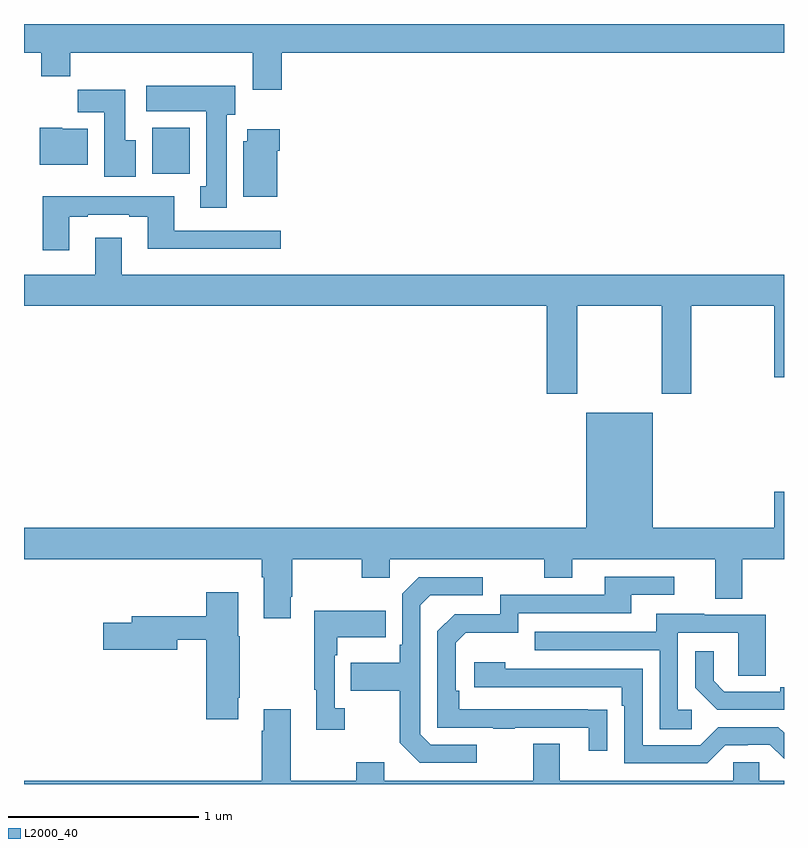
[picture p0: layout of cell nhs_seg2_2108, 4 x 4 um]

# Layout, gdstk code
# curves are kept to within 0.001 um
import gdstk
lib = gdstk.Library(unit=1e-6, precision=1e-09)
def R(c, l, rs):  # rectangles x0, y0, x1, y1
    for r in rs: c.add(gdstk.rectangle(r[:2], r[2:], *l))
def P(c, l, *ps):  # polygons
    for p in ps: c.add(gdstk.Polygon(p, *l))
L2000_40 = (2000, 40)

nhs_seg2_2108 = lib.new_cell('nhs_seg2_2108')
R(nhs_seg2_2108, L2000_40, [(221.675,635.012,221.872,635.254)])
P(nhs_seg2_2108, L2000_40, [(222.356,635.648),(225,635.648),(225,635.8),(221,635.8),(221,635.648),(221.092,635.648),(221.092,635.524),(221.243,635.524),(221.243,635.648),(222.203,635.648),(222.203,635.454),(222.356,635.454)],
  [(222.067,635.322),(222.112,635.322),(222.112,635.476),(221.643,635.476),(221.643,635.342),(221.96,635.342),(221.96,634.946),(221.927,634.946),(221.927,634.833),(222.067,634.833)],
  [(221.587,635.188),(221.533,635.188),(221.533,635.455),(221.284,635.455),(221.284,635.336),(221.423,635.336),(221.423,634.995),(221.587,634.995)],
  [(221.335,635.248),(221.202,635.248),(221.202,635.254),(221.084,635.254),(221.084,635.06),(221.335,635.06)],
  [(222.334,635.132),(222.347,635.132),(222.347,635.245),(222.176,635.245),(222.176,635.184),(222.155,635.184),(222.155,634.892),(222.334,634.892)],
  [(221.239,634.785),(221.335,634.785),(221.335,634.797),(221.555,634.797),(221.555,634.785),(221.651,634.785),(221.651,634.616),(222.352,634.616),(222.352,634.713),(221.791,634.713),(221.791,634.893),(221.327,634.893),(221.327,634.894),(221.099,634.894),(221.099,634.608),(221.239,634.608)],
  [(223.911,634.316),(224.356,634.316),(224.356,633.855),(224.511,633.855),(224.511,634.316),(224.948,634.316),(224.948,633.942),(225,633.942),(225,634.48),(221.515,634.48),(221.515,634.675),(221.375,634.675),(221.375,634.48),(221,634.48),(221,634.316),(223.751,634.316),(223.751,633.855),(223.911,633.855)],
  [(222.403,632.785),(222.411,632.785),(222.411,632.984),(222.778,632.984),(222.778,632.885),(222.924,632.885),(222.924,632.984),(223.738,632.984),(223.738,632.885),(223.885,632.885),(223.885,632.984),(224.639,632.984),(224.639,632.776),(224.779,632.776),(224.779,632.984),(225,632.984),(225,633.337),(224.948,633.337),(224.948,633.148),(224.308,633.148),(224.308,633.754),(223.958,633.754),(223.958,633.148),(221,633.148),(221,632.984),(222.251,632.984),(222.251,632.888),(222.263,632.888),(222.263,632.673),(222.403,632.673)],
  [(224.069,632.192),(223.292,632.193),(223.292,632.29),(223.272,632.29),(223.272,632.544),(223.325,632.597),(223.602,632.597),(223.602,632.7),(224.197,632.7),(224.197,632.796),(224.422,632.796),(224.422,632.892),(224.057,632.892),(224.057,632.796),(223.506,632.796),(223.506,632.694),(223.266,632.694),(223.176,632.604),(223.176,632.097),(223.471,632.097),(223.471,632.092),(223.583,632.092),(223.583,632.097),(223.973,632.097),(223.973,631.974),(224.069,631.974)],
  [(223.384,632.007),(223.14,632.007),(223.086,632.061),(223.086,632.742),(223.137,632.793),(223.414,632.793),(223.414,632.889),(223.077,632.889),(222.99,632.802),(222.99,632.533),(222.978,632.533),(222.978,632.437),(222.721,632.437),(222.721,632.29),(222.978,632.29),(222.978,632.017),(223.083,631.911),(223.384,631.911)],
  [(222.127,632.254),(222.135,632.254),(222.135,632.577),(222.127,632.577),(222.127,632.809),(221.96,632.809),(221.96,632.683),(221.567,632.683),(221.567,632.649),(221.418,632.649),(221.418,632.507),(221.806,632.507),(221.806,632.558),(221.96,632.558),(221.96,632.142),(222.127,632.142)],
  [(222.688,632.198),(222.636,632.198),(222.636,632.477),(222.649,632.477),(222.649,632.573),(222.905,632.573),(222.905,632.713),(222.528,632.713),(222.528,632.297),(222.539,632.297),(222.539,632.085),(222.688,632.085)],
  [(224.515,632.19),(224.442,632.19),(224.442,632.595),(224.76,632.595),(224.76,632.371),(224.905,632.371),(224.905,632.691),(224.581,632.691),(224.581,632.695),(224.327,632.695),(224.327,632.601),(223.687,632.601),(223.687,632.505),(224.346,632.505),(224.346,632.089),(224.515,632.089)],
  [(225,632.309),(224.981,632.309),(224.981,632.286),(224.686,632.286),(224.629,632.343),(224.629,632.5),(224.532,632.5),(224.532,632.306),(224.648,632.19),(225,632.19)],
  [(224.691,632.004),(224.81,632.004),(224.81,632.007),(224.925,632.007),(225,631.932),(225,632.07),(224.97,632.1),(224.655,632.1),(224.559,632.004),(224.256,632.004),(224.256,632.406),(223.532,632.406),(223.532,632.44),(223.371,632.44),(223.371,632.31),(224.147,632.31),(224.147,632.213),(224.16,632.213),(224.16,631.908),(224.595,631.908)],
  [(222.748,631.915),(222.748,631.816),(222.403,631.816),(222.403,632.194),(222.263,632.194),(222.263,632.081),(222.251,632.081),(222.251,631.816),(221,631.816),(221,631.8),(225,631.8),(225,631.816),(224.871,631.816),(224.871,631.914),(224.733,631.914),(224.733,631.816),(223.819,631.816),(223.819,632.011),(223.679,632.011),(223.679,631.816),(222.895,631.816),(222.895,631.915)])

lib.write_gds('nhs_seg2_2108.gds')
